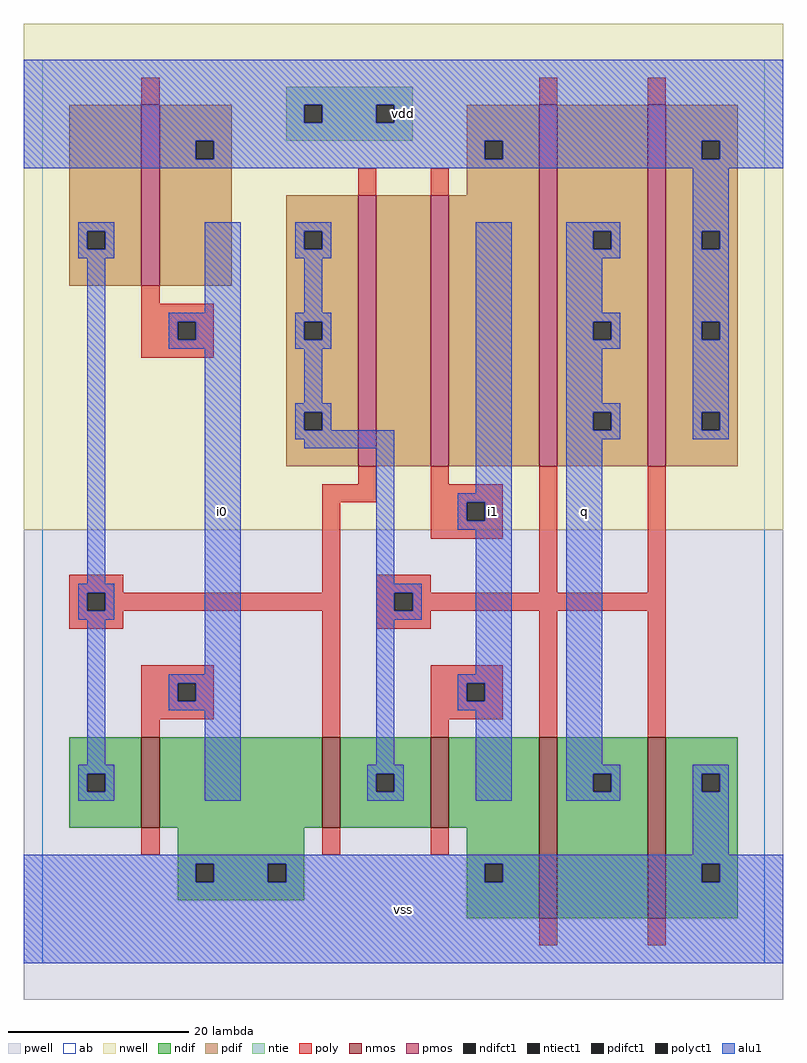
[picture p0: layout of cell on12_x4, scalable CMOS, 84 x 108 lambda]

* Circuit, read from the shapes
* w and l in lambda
.subckt on12_x4 i0 i1 q vdd vss
M1 vss i0 n1 VSUBS nfet w=10 l=2
M2 n2 n1 vss VSUBS nfet w=10 l=2
M3 vss i1 n2 VSUBS nfet w=10 l=2
M4 q n2 vss VSUBS nfet w=20 l=2 m=2
M5 vdd i0 n1 vdd pfet w=20 l=2
M6 n3 n1 n2 vdd pfet w=30 l=2
M7 vdd i1 n3 vdd pfet w=30 l=2
M8 q n2 vdd vdd pfet w=40 l=2 m=2
.ends

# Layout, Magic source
magic
tech scmos
<< ab >>
rect 0 0 80 100
<< nwell >>
rect -2 48 82 104
<< pwell >>
rect -2 -4 82 48
<< poly >>
rect 11 95 13 98
rect 55 95 57 98
rect 67 95 69 98
rect 35 85 37 88
rect 43 85 45 88
rect 11 73 13 75
rect 11 71 19 73
rect 11 69 15 71
rect 17 69 19 71
rect 11 67 19 69
rect 35 53 37 55
rect 31 51 37 53
rect 43 53 45 55
rect 43 51 51 53
rect 3 41 9 43
rect 31 41 33 51
rect 43 49 47 51
rect 49 49 51 51
rect 43 47 51 49
rect 3 39 5 41
rect 7 39 33 41
rect 3 37 9 39
rect 11 31 19 33
rect 11 29 15 31
rect 17 29 19 31
rect 11 27 19 29
rect 11 25 13 27
rect 31 25 33 39
rect 37 41 43 43
rect 55 41 57 55
rect 67 41 69 55
rect 37 39 39 41
rect 41 39 69 41
rect 37 37 43 39
rect 43 31 51 33
rect 43 29 47 31
rect 49 29 51 31
rect 43 27 51 29
rect 43 25 45 27
rect 55 25 57 39
rect 67 25 69 39
rect 11 12 13 15
rect 31 12 33 15
rect 43 12 45 15
rect 55 2 57 5
rect 67 2 69 5
<< ndif >>
rect 3 21 11 25
rect 3 19 5 21
rect 7 19 11 21
rect 3 15 11 19
rect 13 15 31 25
rect 33 21 43 25
rect 33 19 37 21
rect 39 19 43 21
rect 33 15 43 19
rect 45 15 55 25
rect 15 11 29 15
rect 15 9 17 11
rect 19 9 25 11
rect 27 9 29 11
rect 15 7 29 9
rect 47 11 55 15
rect 47 9 49 11
rect 51 9 55 11
rect 47 5 55 9
rect 57 21 67 25
rect 57 19 61 21
rect 63 19 67 21
rect 57 5 67 19
rect 69 21 77 25
rect 69 19 73 21
rect 75 19 77 21
rect 69 11 77 19
rect 69 9 73 11
rect 75 9 77 11
rect 69 5 77 9
<< pdif >>
rect 3 81 11 95
rect 3 79 5 81
rect 7 79 11 81
rect 3 75 11 79
rect 13 91 21 95
rect 47 91 55 95
rect 13 89 17 91
rect 19 89 21 91
rect 13 75 21 89
rect 47 89 49 91
rect 51 89 55 91
rect 47 85 55 89
rect 27 81 35 85
rect 27 79 29 81
rect 31 79 35 81
rect 27 71 35 79
rect 27 69 29 71
rect 31 69 35 71
rect 27 61 35 69
rect 27 59 29 61
rect 31 59 35 61
rect 27 55 35 59
rect 37 55 43 85
rect 45 55 55 85
rect 57 81 67 95
rect 57 79 61 81
rect 63 79 67 81
rect 57 71 67 79
rect 57 69 61 71
rect 63 69 67 71
rect 57 61 67 69
rect 57 59 61 61
rect 63 59 67 61
rect 57 55 67 59
rect 69 91 77 95
rect 69 89 73 91
rect 75 89 77 91
rect 69 81 77 89
rect 69 79 73 81
rect 75 79 77 81
rect 69 71 77 79
rect 69 69 73 71
rect 75 69 77 71
rect 69 61 77 69
rect 69 59 73 61
rect 75 59 77 61
rect 69 55 77 59
<< alu1 >>
rect -2 95 82 100
rect -2 93 29 95
rect 31 93 37 95
rect 39 93 82 95
rect -2 91 82 93
rect -2 89 17 91
rect 19 89 49 91
rect 51 89 73 91
rect 75 89 82 91
rect -2 88 82 89
rect 4 81 8 82
rect 4 79 5 81
rect 7 79 8 81
rect 4 78 8 79
rect 5 42 7 78
rect 18 72 22 82
rect 28 81 32 82
rect 28 79 29 81
rect 31 79 32 81
rect 28 78 32 79
rect 29 72 31 78
rect 14 71 22 72
rect 14 69 15 71
rect 17 69 22 71
rect 14 68 22 69
rect 28 71 32 72
rect 28 69 29 71
rect 31 69 32 71
rect 28 68 32 69
rect 4 41 8 42
rect 4 39 5 41
rect 7 39 8 41
rect 4 38 8 39
rect 5 22 7 38
rect 18 32 22 68
rect 29 62 31 68
rect 28 61 32 62
rect 28 59 29 61
rect 31 59 32 61
rect 28 58 39 59
rect 29 57 39 58
rect 14 31 22 32
rect 14 29 15 31
rect 17 29 22 31
rect 14 28 22 29
rect 4 21 8 22
rect 4 19 5 21
rect 7 19 8 21
rect 4 18 8 19
rect 18 18 22 28
rect 37 42 39 57
rect 48 52 52 82
rect 46 51 52 52
rect 46 49 47 51
rect 49 49 52 51
rect 46 48 52 49
rect 37 41 42 42
rect 37 39 39 41
rect 41 39 42 41
rect 37 38 42 39
rect 37 22 39 38
rect 48 32 52 48
rect 46 31 52 32
rect 46 29 47 31
rect 49 29 52 31
rect 46 28 52 29
rect 36 21 40 22
rect 36 19 37 21
rect 39 19 40 21
rect 36 18 40 19
rect 48 18 52 28
rect 58 81 64 82
rect 58 79 61 81
rect 63 79 64 81
rect 58 78 64 79
rect 72 81 76 88
rect 72 79 73 81
rect 75 79 76 81
rect 58 72 62 78
rect 58 71 64 72
rect 58 69 61 71
rect 63 69 64 71
rect 58 68 64 69
rect 72 71 76 79
rect 72 69 73 71
rect 75 69 76 71
rect 58 62 62 68
rect 58 61 64 62
rect 58 59 61 61
rect 63 59 64 61
rect 58 58 64 59
rect 72 61 76 69
rect 72 59 73 61
rect 75 59 76 61
rect 72 58 76 59
rect 58 22 62 58
rect 58 21 64 22
rect 58 19 61 21
rect 63 19 64 21
rect 58 18 64 19
rect 72 21 76 22
rect 72 19 73 21
rect 75 19 76 21
rect 72 12 76 19
rect -2 11 82 12
rect -2 9 17 11
rect 19 9 25 11
rect 27 9 49 11
rect 51 9 73 11
rect 75 9 82 11
rect -2 0 82 9
<< ntie >>
rect 27 95 41 97
rect 27 93 29 95
rect 31 93 37 95
rect 39 93 41 95
rect 27 91 41 93
<< nmos >>
rect 11 15 13 25
rect 31 15 33 25
rect 43 15 45 25
rect 55 5 57 25
rect 67 5 69 25
<< pmos >>
rect 11 75 13 95
rect 35 55 37 85
rect 43 55 45 85
rect 55 55 57 95
rect 67 55 69 95
<< polyct1 >>
rect 15 69 17 71
rect 47 49 49 51
rect 5 39 7 41
rect 15 29 17 31
rect 39 39 41 41
rect 47 29 49 31
<< ndifct1 >>
rect 5 19 7 21
rect 37 19 39 21
rect 17 9 19 11
rect 25 9 27 11
rect 49 9 51 11
rect 61 19 63 21
rect 73 19 75 21
rect 73 9 75 11
<< ntiect1 >>
rect 29 93 31 95
rect 37 93 39 95
<< pdifct1 >>
rect 5 79 7 81
rect 17 89 19 91
rect 49 89 51 91
rect 29 79 31 81
rect 29 69 31 71
rect 29 59 31 61
rect 61 79 63 81
rect 61 69 63 71
rect 61 59 63 61
rect 73 89 75 91
rect 73 79 75 81
rect 73 69 75 71
rect 73 59 75 61
<< labels >>
rlabel alu1 20 50 20 50 6 i0
rlabel alu1 40 6 40 6 6 vss
rlabel alu1 50 50 50 50 6 i1
rlabel alu1 40 94 40 94 6 vdd
rlabel alu1 60 50 60 50 6 q
<< end >>
